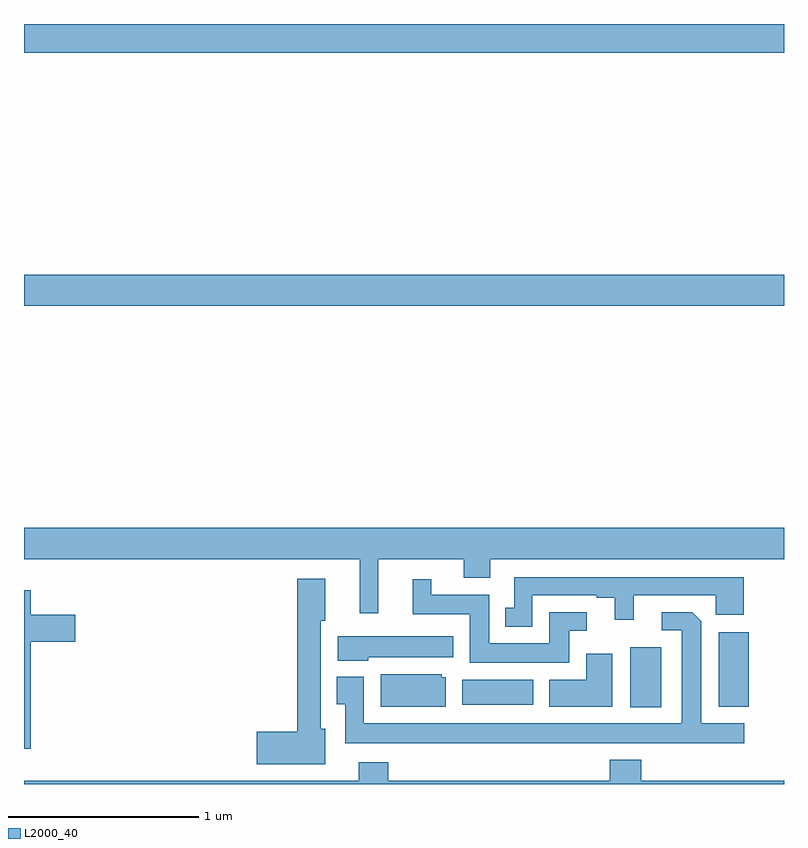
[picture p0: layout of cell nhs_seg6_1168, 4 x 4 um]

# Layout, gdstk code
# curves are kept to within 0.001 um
import gdstk
lib = gdstk.Library(unit=1e-6, precision=1e-09)
def R(c, l, rs):  # rectangles x0, y0, x1, y1
    for r in rs: c.add(gdstk.rectangle(r[:2], r[2:], *l))
def P(c, l, *ps):  # polygons
    for p in ps: c.add(gdstk.Polygon(p, *l))
L2000_40 = (2000, 40)

nhs_seg6_1168 = lib.new_cell('nhs_seg6_1168')
R(nhs_seg6_1168, L2000_40, [(186.191,931.904,186.355,932.221), (186.656,931.907,186.814,932.299), (185.307,931.916,185.68,932.05), (183,934.016,187,934.18), (183,935.348,187,935.5)])
P(nhs_seg6_1168, L2000_40, [(184.865,932.684),(185.315,932.684),(185.315,932.585),(185.455,932.585),(185.455,932.684),(187,932.684),(187,932.848),(183,932.848),(183,932.684),(184.766,932.684),(184.766,932.4),(184.865,932.4)],
  [(185.676,932.493),(186.014,932.493),(186.014,932.481),(186.11,932.481),(186.11,932.364),(186.208,932.364),(186.208,932.493),(186.642,932.493),(186.642,932.39),(186.789,932.39),(186.789,932.589),(185.58,932.589),(185.58,932.427),(185.534,932.427),(185.534,932.327),(185.676,932.327)],
  [(184.585,931.791),(184.561,931.791),(184.561,932.358),(184.585,932.358),(184.585,932.581),(184.439,932.581),(184.439,931.775),(184.224,931.775),(184.224,931.604),(184.585,931.604)],
  [(185.869,932.307),(185.962,932.307),(185.962,932.403),(185.765,932.403),(185.765,932.242),(185.449,932.242),(185.449,932.497),(185.143,932.497),(185.143,932.578),(185.045,932.578),(185.045,932.393),(185.345,932.393),(185.345,932.138),(185.869,932.138)],
  [(183.035,932.249),(183.271,932.249),(183.271,932.391),(183.035,932.391),(183.035,932.521),(183,932.521),(183,931.686),(183.035,931.686)],
  [(186.79,931.819),(186.565,931.819),(186.564,932.357),(186.518,932.403),(186.357,932.403),(186.357,932.31),(186.461,932.31),(186.461,931.819),(184.788,931.819),(184.788,932.065),(184.646,932.065),(184.646,931.921),(184.691,931.921),(184.691,931.715),(186.79,931.715)],
  [(184.812,932.168),(185.26,932.168),(185.26,932.278),(184.65,932.278),(184.65,932.15),(184.812,932.15)],
  [(186.097,932.185),(185.96,932.185),(185.96,932.05),(185.765,932.05),(185.765,931.907),(186.097,931.907)],
  [(185.221,932.061),(185.199,932.061),(185.199,932.077),(184.877,932.077),(184.877,931.907),(185.221,931.907)],
  [(187,931.516),(186.248,931.516),(186.248,931.627),(186.083,931.627),(186.083,931.516),(184.916,931.516),(184.916,931.615),(184.763,931.615),(184.763,931.516),(183,931.516),(183,931.5),(187,931.5)])

lib.write_gds('nhs_seg6_1168.gds')
